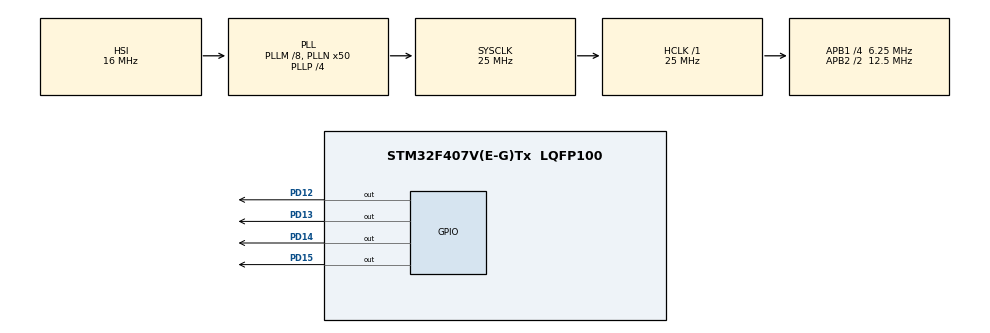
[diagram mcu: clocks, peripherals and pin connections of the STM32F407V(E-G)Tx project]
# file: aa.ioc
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FREERTOS.INCLUDE_vTaskDelayUntil=1
FREERTOS.Tasks01=defaultTask,-3,128,StartDefaultTask,Default,NULL,Dynamic,NULL,NULL
FREERTOS.configUSE_NEWLIB_REENTRANT=1
Mcu.Family=STM32F4
Mcu.Name=STM32F407V(E-G)Tx
Mcu.Package=LQFP100
NVIC.PriorityGroup=NVIC_PRIORITYGROUP_4
NVIC.TIM1_UP_TIM10_IRQn=true\:15\:0\:false\:false\:true\:false\:false\:true\:true
NVIC.TimeBase=TIM1_UP_TIM10_IRQn
NVIC.TimeBaseIP=TIM1
PD12.Signal=GPIO_Output
PD13.Signal=GPIO_Output
PD14.Signal=GPIO_Output
PD15.Signal=GPIO_Output
ProjectManager.HeapSize=0x200
ProjectManager.StackSize=0x400
ProjectManager.TargetToolchain=STM32CubeIDE
RCC.48MHZClocksFreq_Value=14285714.285714285
RCC.AHBFreq_Value=25000000
RCC.APB1CLKDivider=RCC_HCLK_DIV4
RCC.APB1Freq_Value=6250000
RCC.APB1TimFreq_Value=12500000
RCC.APB2CLKDivider=RCC_HCLK_DIV2
RCC.APB2Freq_Value=12500000
RCC.APB2TimFreq_Value=25000000
RCC.CortexFreq_Value=25000000
RCC.HCLKFreq_Value=25000000
RCC.HSE_VALUE=8000000
RCC.HSI_VALUE=16000000
RCC.PLLM=8
RCC.PLLN=50
RCC.PLLP=RCC_PLLP_DIV4
RCC.PLLQ=7
RCC.SYSCLKFreq_VALUE=25000000
RCC.SYSCLKSource=RCC_SYSCLKSOURCE_PLLCLK
RCC.VCOOutputFreq_Value=100000000
VP_FREERTOS_VS_CMSIS_V1.Mode=CMSIS_V1
VP_SYS_VS_tim1.Mode=TIM1
board=STM32F407G-DISC1

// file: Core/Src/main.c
/* USER CODE BEGIN Header */
/**
  ******************************************************************************
  * @file           : main.c
  * @brief          : Main program body
  ******************************************************************************
  * @attention
  *
  * Copyright (c) 2024 STMicroelectronics.
  * All rights reserved.
  *
  * This software is licensed under terms that can be found in the LICENSE file
  * in the root directory of this software component.
  * If no LICENSE file comes with this software, it is provided AS-IS.
  *
  ******************************************************************************
  */
/* USER CODE END Header */
#include "main.h"
#include "cmsis_os.h"

osThreadId defaultTaskHandle;

void SystemClock_Config(void);
static void MX_GPIO_Init(void);
void StartDefaultTask(void const * argument);

/* USER CODE BEGIN 0 */

void vLedTask1(void *pvParam)
{
	portTickType wakeupTime = xTaskGetTickCount();
	while(1)
	{
		HAL_GPIO_TogglePin(GPIOD, GPIO_PIN_12);
		vTaskDelayUntil(&wakeupTime ,500 / portTICK_RATE_MS);
	}
	vTaskDelete(NULL);
}

void vLedTask2(void *pvParam)
{
	portTickType wakeupTime = xTaskGetTickCount();
	while(1)
	{
		HAL_GPIO_TogglePin(GPIOD, GPIO_PIN_13);
		vTaskDelayUntil(&wakeupTime ,1000 / portTICK_RATE_MS);
	}
	vTaskDelete(NULL);
}
void vLedTask3(void *pvParam)
{
	portTickType wakeupTime = xTaskGetTickCount();
	while(1)
	{
		HAL_GPIO_TogglePin(GPIOD, GPIO_PIN_14);
		vTaskDelayUntil(&wakeupTime ,1500 / portTICK_RATE_MS);
	}
	vTaskDelete(NULL);
}
void vLedTask4(void *pvParam)
{
	portTickType wakeupTime = xTaskGetTickCount();
	while(1)
	{
		HAL_GPIO_TogglePin(GPIOD, GPIO_PIN_15);
		vTaskDelayUntil(&wakeupTime ,2000 / portTICK_RATE_MS);
	}
	vTaskDelete(NULL);
}

/* USER CODE END 0 */

int main(void)
{

  /* USER CODE BEGIN 1 */
	BaseType_t xRet;
  /* USER CODE END 1 */

  /* MCU Configuration--------------------------------------------------------*/

  /* Reset of all peripherals, Initializes the Flash interface and the Systick. */
  HAL_Init();

  /* Configure the system clock */
  SystemClock_Config();

  /* Initialize all configured peripherals */
  MX_GPIO_Init();

  /* Create the thread(s) */
  /* definition and creation of defaultTask */
  osThreadDef(defaultTask, StartDefaultTask, osPriorityIdle, 0, 128);
  defaultTaskHandle = osThreadCreate(osThread(defaultTask), NULL);

  /* USER CODE BEGIN RTOS_THREADS */
  /* add threads, ... */
  xRet = xTaskCreate(vLedTask1, "led1",configMINIMAL_STACK_SIZE, NULL, 2, NULL);
    if(xRet != pdTRUE)
  	  Error_Handler();

    xRet = xTaskCreate(vLedTask2, "led2",configMINIMAL_STACK_SIZE, NULL, 2, NULL);
       if(xRet != pdTRUE)
     	  Error_Handler();
    xRet = xTaskCreate(vLedTask3, "led3",configMINIMAL_STACK_SIZE, NULL, 2, NULL);
          if(xRet != pdTRUE)
        	  Error_Handler();
    xRet = xTaskCreate(vLedTask4, "led4",configMINIMAL_STACK_SIZE, NULL, 2, NULL);
             if(xRet != pdTRUE)
           	  Error_Handler();

  /* USER CODE END RTOS_THREADS */

  /* Start scheduler */
  osKernelStart();

  /* We should never get here as control is now taken by the scheduler */

  /* Infinite loop */
  while (1)
  {

  }
}

void SystemClock_Config(void)
{
  RCC_OscInitTypeDef RCC_OscInitStruct = {0};
  RCC_ClkInitTypeDef RCC_ClkInitStruct = {0};

  /** Configure the main internal regulator output voltage
  */
  __HAL_RCC_PWR_CLK_ENABLE();
  __HAL_PWR_VOLTAGESCALING_CONFIG(PWR_REGULATOR_VOLTAGE_SCALE1);

  /** Initializes the RCC Oscillators according to the specified parameters
  * in the RCC_OscInitTypeDef structure.
  */
  RCC_OscInitStruct.OscillatorType = RCC_OSCILLATORTYPE_HSI;
  RCC_OscInitStruct.HSIState = RCC_HSI_ON;
  RCC_OscInitStruct.HSICalibrationValue = RCC_HSICALIBRATION_DEFAULT;
  RCC_OscInitStruct.PLL.PLLState = RCC_PLL_ON;
  RCC_OscInitStruct.PLL.PLLSource = RCC_PLLSOURCE_HSI;
  RCC_OscInitStruct.PLL.PLLM = 8;
  RCC_OscInitStruct.PLL.PLLN = 50;
  RCC_OscInitStruct.PLL.PLLP = RCC_PLLP_DIV4;
  RCC_OscInitStruct.PLL.PLLQ = 7;
  if (HAL_RCC_OscConfig(&RCC_OscInitStruct) != HAL_OK)
  {
    Error_Handler();
  }

  /** Initializes the CPU, AHB and APB buses clocks
  */
  RCC_ClkInitStruct.ClockType = RCC_CLOCKTYPE_HCLK|RCC_CLOCKTYPE_SYSCLK
                              |RCC_CLOCKTYPE_PCLK1|RCC_CLOCKTYPE_PCLK2;
  RCC_ClkInitStruct.SYSCLKSource = RCC_SYSCLKSOURCE_PLLCLK;
  RCC_ClkInitStruct.AHBCLKDivider = RCC_SYSCLK_DIV1;
  RCC_ClkInitStruct.APB1CLKDivider = RCC_HCLK_DIV4;
  RCC_ClkInitStruct.APB2CLKDivider = RCC_HCLK_DIV2;

  if (HAL_RCC_ClockConfig(&RCC_ClkInitStruct, FLASH_LATENCY_0) != HAL_OK)
  {
    Error_Handler();
  }
}

static void MX_GPIO_Init(void)
{
  GPIO_InitTypeDef GPIO_InitStruct = {0};

  /* GPIO Ports Clock Enable */
  __HAL_RCC_GPIOD_CLK_ENABLE();

  /*Configure GPIO pin Output Level */
  HAL_GPIO_WritePin(GPIOD, GPIO_PIN_12|GPIO_PIN_13|GPIO_PIN_14|GPIO_PIN_15, GPIO_PIN_RESET);

  /*Configure GPIO pins : PD12 PD13 PD14 PD15 */
  GPIO_InitStruct.Pin = GPIO_PIN_12|GPIO_PIN_13|GPIO_PIN_14|GPIO_PIN_15;
  GPIO_InitStruct.Mode = GPIO_MODE_OUTPUT_PP;
  GPIO_InitStruct.Pull = GPIO_NOPULL;
  GPIO_InitStruct.Speed = GPIO_SPEED_FREQ_LOW;
  HAL_GPIO_Init(GPIOD, &GPIO_InitStruct);

}

void StartDefaultTask(void const * argument)
{
  for(;;)
  {
    osDelay(1);
  }
}

void HAL_TIM_PeriodElapsedCallback(TIM_HandleTypeDef *htim)
{
  if (htim->Instance == TIM1) {
    HAL_IncTick();
  }
}

void Error_Handler(void)
{
  __disable_irq();
  while (1)
  {
  }
}
